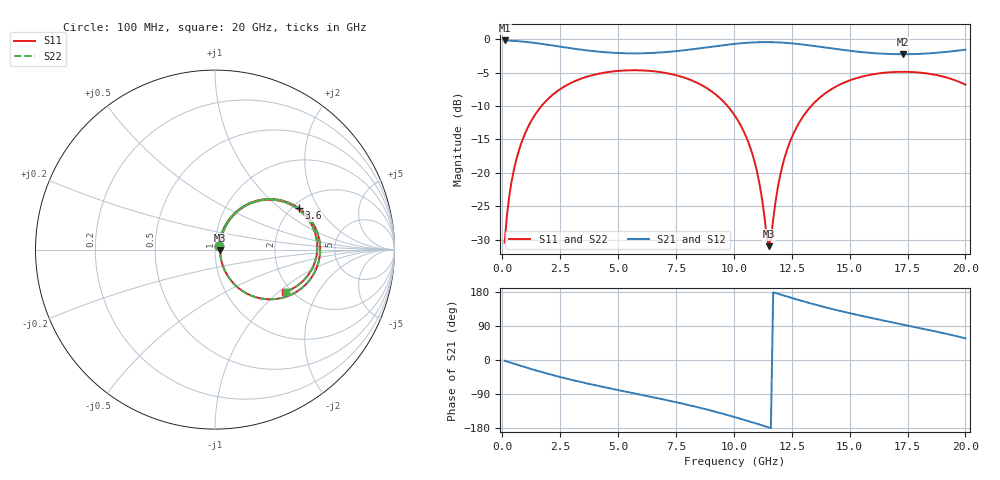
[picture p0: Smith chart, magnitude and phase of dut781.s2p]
! Touchstone file exported from HFSS 2026.1.0
!  File:  C:/ffzhzh/LocalFiles/Ansys_Project_Files/temp_train_TSV_RDL_781_1783210748_18472.aedt
!  Generated:  08:34:58 AM Jul  5, 2026
!  Design:  TSV_RDL
!  Project:  temp_train_TSV_RDL_781_1783210748_18472
! Variables:
!  h_bsmrdl = 4.57um
!  h_ox = 20um
!  h_rdl = 5um
!  h_sub = 62.79um
!  h_tmrdl = 5.8um
!  h_tsv = 62.79um
!  h_via = 3um
!  l_bsmrdl = 792.37um
!  l_sub = 5478.66um
!  l_tmrdl = 643.94um
!  m_sub = 200um
!  pitch = 52.57um
!  r_tsv = 3.6um
!  s_tmrdl = 10um
!  w_bsmrdl = 23.35um
!  w_sub = 500um
!  w_tmrdl = 18.58um
!  x_tsv_center1 = 653.23um
!  x_tsv_center2 = 1468.95um
!  x_tsv_center3 = 2131.47um
!  x_tsv_center4 = 2947.19um
!  x_tsv_center5 = 3609.71um
!  x_tsv_center6 = 4425.43um
# GHz S MA R 50.000000
! Terminal data exported
! Port[1] = TM_RDL1_1_T1
! Port[2] = TM_RDL5_1_T1
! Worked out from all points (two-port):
!   200 points, 100 MHz to 20 GHz, reference 50 ohm
!   highest |S21| = -0.18 dB at 100 MHz (marker M1); lowest = -2.2 dB at 17.3 GHz (marker M2)
!   |S21| within 3 dB of the highest: start of sweep to end of sweep
!   lowest |S11| = -31.0 dB at 11.5 GHz (marker M3), VSWR 1.06, Z = 52.9 - j0.311 ohm
!   |S11| at or under -10 dB: start of sweep to 1.693 GHz; 9.728 GHz to 13.34 GHz (3.615 GHz wide, 31.3 % of centre)
!   |S22| runs from -31.0 to -4.6 dB; largest |S21 - S12| = 1.7e-14
!   S11 on the Smith chart (normalised r, x): 100 MHz: 1.04, +0.04; 3.6 GHz: 2.16, +1.37; 20 GHz: 1.86, -1.11
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0.1  0.03003 44.3  0.979 -2.0  0.979 -2.0  0.03003 44.3
! Gamma 0 0 0 0
! Port Impedance 50 0 50 0
0.3  0.06674 64.6  0.9757 -5.9  0.9757 -5.9  0.06674 64.6
0.5  0.1054 67.6  0.9717 -9.8  0.9717 -9.8  0.1054 67.6
1.1  0.218 62.6  0.952 -21.0  0.952 -21.0  0.218 62.6
2.1  0.3743 47.6  0.9017 -38.5  0.9017 -38.5  0.3743 47.6
3.5  0.514 27.6  0.831 -59.6  0.831 -59.6  0.514 27.6
3.6  0.5208 26.3  0.8269 -61.0  0.8269 -61.0  0.5208 26.3
5.2  0.5827 6.2  0.786 -81.8  0.786 -81.8  0.5827 6.2
6.8  0.5685 -13.1  0.7952 -102.0  0.7952 -102.0  0.5685 -13.1
8.6  0.4545 -36.6  0.8582 -127.1  0.8582 -127.1  0.4544 -36.6
10.1  0.2589 -57.9  0.9253 -151.8  0.9253 -151.8  0.2588 -57.9
10.9  0.1203 -64.8  0.9475 -166.4  0.9475 -166.4  0.1203 -64.9
11.2  0.06674 -58.9  0.9509 -172.0  0.9509 -172.0  0.06664 -59.0
11.5  0.02828 -6.0  0.9513 -177.7  0.9513 -177.7  0.0281 -5.9
11.9  0.07794 62.3  0.9471 174.8  0.9471 174.8  0.07791 62.4
12.2  0.1313 65.6  0.9405 169.2  0.9405 169.2  0.1313 65.7
12.7  0.2175 61.8  0.9241 160.2  0.9241 160.2  0.2175 61.8
13.4  0.3243 52.5  0.8934 148.1  0.8934 148.1  0.3243 52.5
14.8  0.4764 33.2  0.8276 126.4  0.8276 126.4  0.4764 33.2
16.7  0.5654 9.5  0.7754 101.1  0.7754 101.1  0.5654 9.6
17.3  0.5704 2.5  0.7722 93.5  0.7722 93.5  0.5704 2.5
20  0.4572 -30.9  0.8349 57.3  0.8349 57.3  0.4573 -30.8
